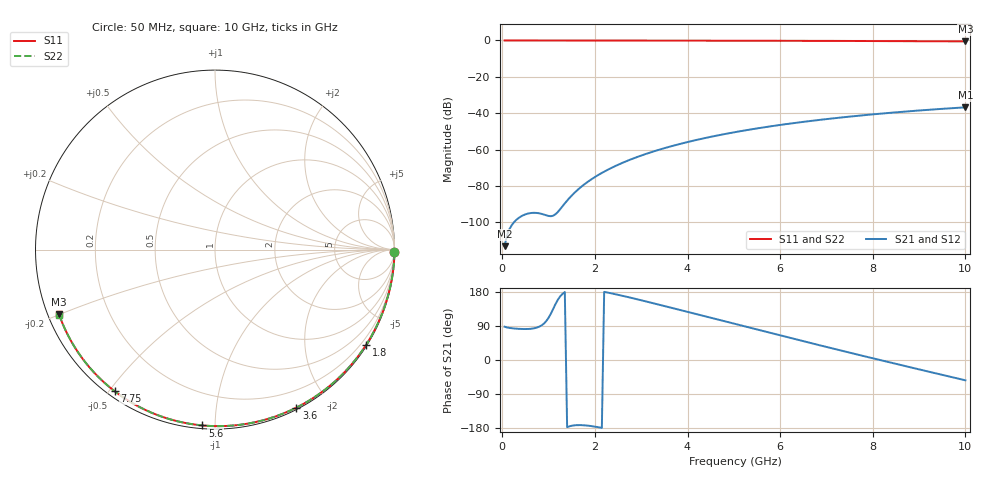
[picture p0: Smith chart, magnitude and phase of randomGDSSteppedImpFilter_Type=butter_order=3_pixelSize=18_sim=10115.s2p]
! freq	dB(S11)	phase(S11)	dB(S12)	phase(S12)
!  dB(S21)	phase(S21)	dB(S22)	phase(S22)
!S-par simulation data
#  GHz  S  DB  R 50
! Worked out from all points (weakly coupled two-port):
!   200 points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, 50 MHz to 10 GHz, reference 50 ohm
!   highest |S21| = -36.76 dB at 10 GHz (marker M1); lowest = -113.1 dB at 50 MHz (marker M2)
!   lowest |S11| = -0.5 dB at 10 GHz (marker M3), VSWR 32.85, Z = 1.58 - j9.95 ohm
!   |S11| at or under -10 dB: nowhere
!   |S22| runs from -0.5 to 0.0 dB; largest |S21 - S12| = 0
!   S11 on the Smith chart (normalised r, x): 50 MHz: open; 1.8 GHz: 0.03, -3.46; 3.6 GHz: 0.02, -1.64; 5.6 GHz: 0.02, -0.93; 7.75 GHz: 0.02, -0.52; 10 GHz: 0.03, -0.20
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0.05  -0.00 -0.9  -113.06 87.8  -113.06 87.8  -0.00 -0.9
0.45  -0.01 -8.2  -96.09 81.7  -96.09 81.7  -0.01 -8.2
0.9  -0.02 -16.3  -95.71 96.3  -95.71 96.3  -0.02 -16.3
1.7  -0.04 -30.5  -80.52 -171.9  -80.52 -171.9  -0.04 -30.6
1.75  -0.04 -31.3  -79.50 -172.2  -79.50 -172.2  -0.04 -31.4
1.8  -0.04 -32.2  -78.53 -172.6  -78.53 -172.6  -0.04 -32.3
1.95  -0.04 -34.8  -75.87 -174.9  -75.87 -174.9  -0.04 -34.9
2.1  -0.05 -37.4  -73.52 -177.9  -73.52 -177.9  -0.05 -37.5
2.3  -0.05 -40.9  -70.76 177.3  -70.76 177.3  -0.05 -41.0
2.5  -0.06 -44.3  -68.32 172.1  -68.32 172.1  -0.06 -44.4
2.9  -0.07 -51.1  -64.17 160.6  -64.17 160.6  -0.07 -51.2
3.4  -0.08 -59.5  -59.95 145.6  -59.95 145.6  -0.08 -59.6
3.6  -0.08 -62.7  -58.48 139.4  -58.48 139.4  -0.08 -62.9
4.3  -0.11 -74.0  -54.06 117.6  -54.06 117.6  -0.11 -74.2
5.05  -0.13 -85.7  -50.27 94.2  -50.27 94.2  -0.13 -85.9
5.6  -0.16 -94.1  -47.94 77.2  -47.94 77.2  -0.16 -94.2
6.15  -0.18 -102.3  -45.91 60.3  -45.91 60.3  -0.18 -102.4
6.7  -0.22 -110.3  -44.11 43.5  -44.11 43.5  -0.22 -110.4
7.75  -0.29 -125.3  -41.22 12.0  -41.22 12.0  -0.29 -125.3
8.35  -0.34 -133.9  -39.83 -5.8  -39.83 -5.8  -0.34 -133.7
9.2  -0.43 -145.9  -38.11 -30.6  -38.11 -30.6  -0.43 -145.7
10  -0.53 -157.5  -36.76 -53.6  -36.76 -53.6  -0.53 -157.1
